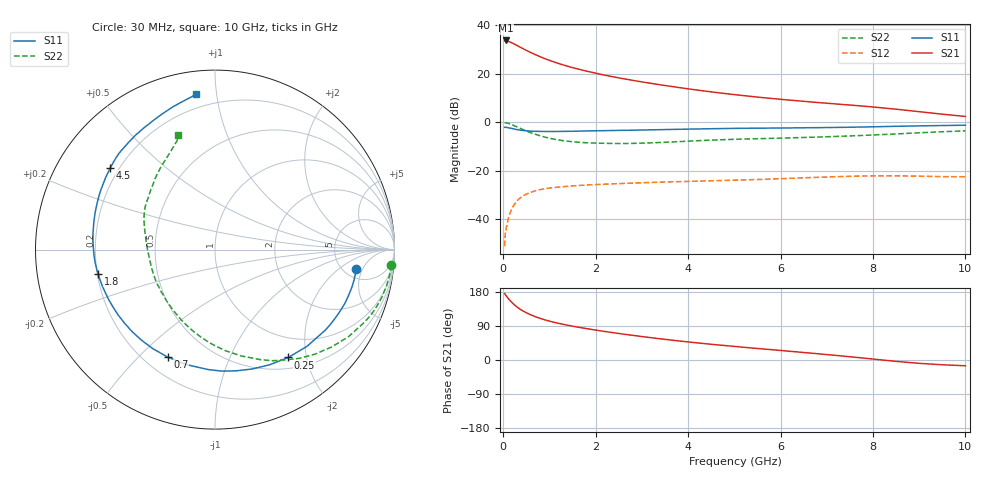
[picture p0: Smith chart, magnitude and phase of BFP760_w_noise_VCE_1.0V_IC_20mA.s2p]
! Infineon Technologies  Discrete & RF Semiconductors
! BFP760
! VCE =  1.0 V,  IC =  20 mA
! Common Emitter S-Parameters:  Nov 2012
# GHz  S  MA  R  50
!  f  S11  S21  S12  S22
! GHz  MAG  ANG  MAG  ANG  MAG  ANG  MAG  ANG
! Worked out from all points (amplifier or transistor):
!   99 points, 30 MHz to 10 GHz, reference 50 ohm
!   highest |S21| = 33.8 dB at 50 MHz (marker M1)
!   |S21| within 3 dB of that: start of sweep to 389.9 MHz
!   unconditionally stable (mu >= 1): 4.651 GHz to end of sweep
!   at 350 MHz: K = 0.20, MSG = 31.3 dB, |S12| = -31.4 dB
!   at 3.5 GHz: K = 0.86, MSG = 19.9 dB, |S12| = -24.6 dB
!   at 10 GHz: K = 1.16, MAG = 10.0 dB, |S12| = -22.4 dB
!   lowest NFmin = 0.63 dB at 900 MHz
!   S11 on the Smith chart (normalised r, x): 30 MHz: 6.44, -3.72; 250 MHz: 0.66, -1.69; 700 MHz: 0.29, -0.61; 1.8 GHz: 0.20, -0.10; 4.5 GHz: 0.17, +0.34; 10 GHz: 0.12, +0.88
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0.03  0.7923 -7.8  48.15 175.4  0.0028 87.3  0.9841 -5.0
0.05  0.7927 -12.6  48.96 171.4  0.0057 86.0  0.9828 -8.6
0.1  0.7792 -24.7  47.45 163.7  0.0096 78.5  0.9623 -17.4
0.15  0.7613 -36.0  45.4 156.6  0.0137 73.5  0.9276 -25.6
0.2  0.7439 -46.4  43.1 150.3  0.0176 68.1  0.8882 -33.1
0.25  0.7267 -55.8  40.84 144.8  0.021 63.8  0.8456 -40.0
0.35  0.6966 -72.8  36.18 135.4  0.0269 56.9  0.7667 -52.2
0.45  0.6782 -86.7  32.32 127.9  0.0313 51.1  0.6972 -62.6
0.6  0.6603 -104.3  27.48 118.9  0.0363 44.6  0.6105 -76.1
0.7  0.654 -113.8  24.83 114.0  0.039 40.9  0.5665 -84.1
0.9  0.65 -129.2  20.7 106.0  0.0428 35.8  0.4977 -98.3
1.1  0.6496 -141.1  17.62 99.5  0.0453 32.0  0.4509 -110.4
1.4  0.6545 -154.7  14.34 91.6  0.0481 28.2  0.4086 -125.4
1.7  0.6623 -165.3  12.05 85.0  0.0504 25.9  0.3843 -138.2
1.8  0.666 -168.4  11.43 82.9  0.0511 25.2  0.381 -142.1
2.5  0.6838 174.1  8.292 70.0  0.0546 21.8  0.3674 -164.5
3.4  0.7082 157.2  5.962 55.9  0.0586 19.3  0.3854 173.7
4.5  0.7399 141.9  4.264 41.5  0.0624 17.3  0.4311 156.6
5.1  0.7541 136.3  3.654 34.8  0.0647 16.6  0.451 150.3
6.7  0.7778 124.0  2.622 17.7  0.0731 13.6  0.4952 135.3
8.5  0.8303 106.2  1.872 -3.6  0.079 4.3  0.5778 117.8
10  0.8739 96.8  1.327 -15.2  0.0755 0.9  0.6688 107.8
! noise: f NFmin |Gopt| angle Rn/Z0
0.9  0.63  0.08  43  0.09
1.8  0.67  0.06  168  0.08
2.4  0.72  0.08  -178  0.08
3.5  0.83  0.12  -153  0.09
5.5  1.06  0.26  -120  0.11
8  1.37  0.38  -84  0.32
